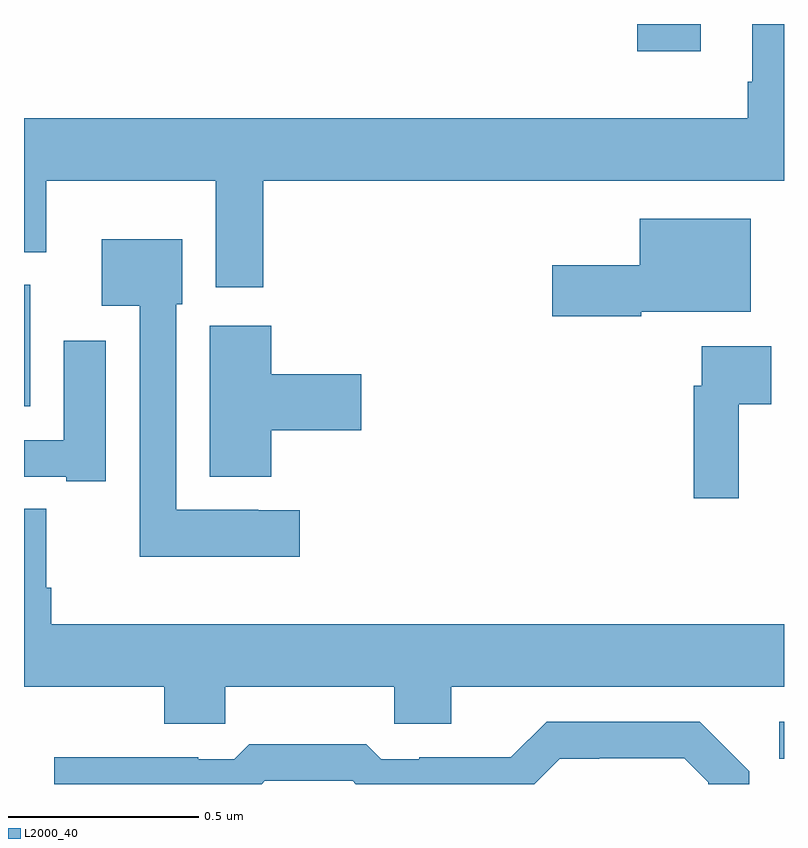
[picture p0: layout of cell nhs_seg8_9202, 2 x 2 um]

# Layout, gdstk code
import gdstk
lib = gdstk.Library(unit=1e-6, precision=1e-09)
def R(c, l, rs):  # rectangles x0, y0, x1, y1
    for r in rs: c.add(gdstk.rectangle(r[:2], r[2:], *l))
def P(c, l, *ps):  # polygons
    for p in ps: c.add(gdstk.Polygon(p, *l))
L2000_40 = (2000, 40)

nhs_seg8_9202 = lib.new_cell('nhs_seg8_9202')
R(nhs_seg8_9202, L2000_40, [(234.987,1126.967,235,1127.064), (233,1127.894,233.017,1128.214), (234.614,1128.828,234.781,1128.9)])
P(nhs_seg8_9202, L2000_40, [(233,1128.299),(233.059,1128.299),(233.059,1128.488),(233.504,1128.488),(233.504,1128.207),(233.63,1128.207),(233.63,1128.488),(235,1128.488),(235,1128.9),(234.917,1128.9),(234.917,1128.748),(234.905,1128.748),(234.905,1128.652),(233,1128.652)],
  [(234.624,1128.143),(234.913,1128.143),(234.913,1128.388),(234.62,1128.388),(234.62,1128.265),(234.39,1128.265),(234.39,1128.131),(234.624,1128.131)],
  [(233.725,1127.62),(233.616,1127.62),(233.616,1127.622),(233.4,1127.622),(233.4,1128.162),(233.416,1128.162),(233.416,1128.334),(233.204,1128.334),(233.204,1128.158),(233.304,1128.158),(233.304,1127.498),(233.725,1127.498)],
  [(233.651,1127.831),(233.887,1127.831),(233.887,1127.978),(233.651,1127.978),(233.651,1128.106),(233.489,1128.106),(233.489,1127.708),(233.651,1127.708)],
  [(233.215,1128.067),(233.105,1128.067),(233.105,1127.805),(233,1127.805),(233,1127.709),(233.111,1127.709),(233.111,1127.697),(233.215,1127.697)],
  [(234.881,1127.9),(234.967,1127.9),(234.967,1128.052),(234.783,1128.052),(234.783,1127.948),(234.763,1127.948),(234.763,1127.652),(234.881,1127.652)],
  [(233.529,1127.156),(233.974,1127.156),(233.974,1127.058),(234.124,1127.058),(234.124,1127.156),(235,1127.156),(235,1127.32),(233.072,1127.32),(233.072,1127.416),(233.059,1127.416),(233.059,1127.624),(233,1127.624),(233,1127.156),(233.369,1127.156),(233.369,1127.058),(233.529,1127.058)],
  [(233.634,1126.908),(233.865,1126.908),(233.873,1126.9),(234.343,1126.9),(234.41,1126.967),(234.514,1126.967),(234.514,1126.968),(234.738,1126.968),(234.801,1126.905),(234.801,1126.9),(234.909,1126.9),(234.909,1126.934),(234.778,1127.064),(234.375,1127.064),(234.281,1126.97),(234.04,1126.97),(234.04,1126.965),(233.94,1126.965),(233.901,1127.005),(233.593,1127.005),(233.553,1126.965),(233.459,1126.965),(233.459,1126.97),(233.079,1126.97),(233.079,1126.9),(233.626,1126.9)])

lib.write_gds('nhs_seg8_9202.gds')
